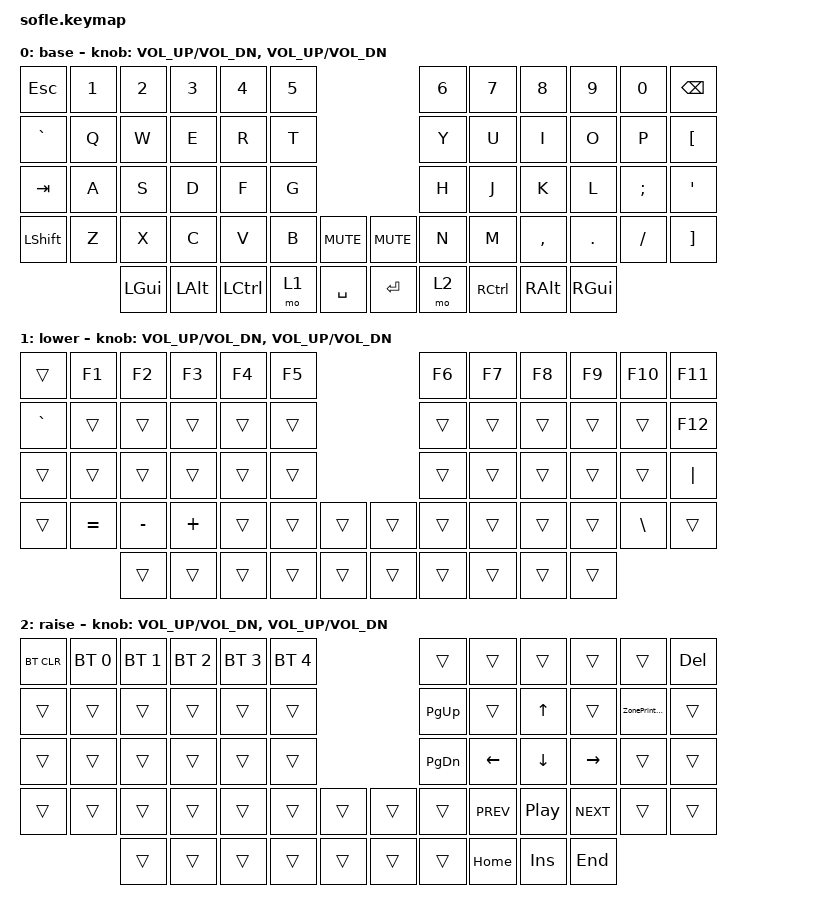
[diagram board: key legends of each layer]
/*
 * Copyright (c) 2020 The ZMK Contributors
 *
 * SPDX-License-Identifier: MIT
 */

#include <behaviors.dtsi>
#include <dt-bindings/zmk/bt.h>
#include <dt-bindings/zmk/keys.h>

#define BASE 0
#define LOWER 1
#define RAISE 2
#define ADJUST 3

/ {
    // Activate ADJUST layer by pressing raise and lower

    conditional_layers {
        compatible = "zmk,conditional-layers";

        adjust_layer {
            if-layers = <1 2>;
            then-layer = <3>;
        };
    };

    macros {
        ZonePrintScreen: ZonePrintScreen {
            compatible = "zmk,behavior-macro";
            #binding-cells = <0>;
            bindings = <&kp LS(LG(S))>;
            label = "ZONEPRINTSCREEN";
        };
    };

    keymap {
        compatible = "zmk,keymap";

        base_layer {
            display-name = "base";
            bindings = <
&kp ESCAPE  &kp N1  &kp N2    &kp N3    &kp N4     &kp N5                            &kp N6  &kp N7     &kp N8     &kp N9    &kp N0    &kp BACKSPACE
&kp GRAVE   &kp Q   &kp W     &kp E     &kp R      &kp T                             &kp Y   &kp U      &kp I      &kp O     &kp P     &kp LEFT_BRACKET
&kp TAB     &kp A   &kp S     &kp D     &kp F      &kp G                             &kp H   &kp J      &kp K      &kp L     &kp SEMI  &kp SQT
&kp LSHFT   &kp Z   &kp X     &kp C     &kp V      &kp B   &kp C_MUTE    &kp C_MUTE  &kp N   &kp M      &kp COMMA  &kp DOT   &kp FSLH  &kp RIGHT_BRACKET
                    &kp LGUI  &kp LALT  &kp LCTRL  &mo 1   &kp SPACE     &kp ENTER   &mo 2   &kp RCTRL  &kp RALT   &kp RGUI
            >;

            sensor-bindings =
                <&inc_dec_kp C_VOL_UP C_VOL_DN>,
                <&inc_dec_kp C_VOL_UP C_VOL_DN>;
        };

        lower_layer {
            display-name = "lower";
            bindings = <
&trans     &kp F1     &kp F2     &kp F3    &kp F4  &kp F5                    &kp F6  &kp F7  &kp F8  &kp F9  &kp F10   &kp F11
&kp GRAVE  &trans     &trans     &trans    &trans  &trans                    &trans  &trans  &trans  &trans  &trans    &kp F12
&trans     &trans     &trans     &trans    &trans  &trans                    &trans  &trans  &trans  &trans  &trans    &kp PIPE
&trans     &kp EQUAL  &kp MINUS  &kp PLUS  &trans  &trans  &trans    &trans  &trans  &trans  &trans  &trans  &kp BSLH  &trans
                      &trans     &trans    &trans  &trans  &trans    &trans  &trans  &trans  &trans  &trans
            >;

            sensor-bindings =
                <&inc_dec_kp C_VOL_UP C_VOL_DN>,
                <&inc_dec_kp C_VOL_UP C_VOL_DN>;
        };

        raise_layer {
            display-name = "raise";
            bindings = <
&bt BT_CLR  &bt BT_SEL 0  &bt BT_SEL 1  &bt BT_SEL 2  &bt BT_SEL 3  &bt BT_SEL 4                    &trans     &trans      &trans            &trans      &trans            &kp DELETE
&trans      &trans        &trans        &trans        &trans        &trans                          &kp PG_UP  &trans      &kp UP            &trans      &ZonePrintScreen  &trans
&trans      &trans        &trans        &trans        &trans        &trans                          &kp PG_DN  &kp LEFT    &kp DOWN          &kp RIGHT   &trans            &trans
&trans      &trans        &trans        &trans        &trans        &trans        &trans    &trans  &trans     &kp C_PREV  &kp C_PLAY_PAUSE  &kp C_NEXT  &trans            &trans
                          &trans        &trans        &trans        &trans        &trans    &trans  &trans     &kp HOME    &kp INSERT        &kp END
            >;

            sensor-bindings =
                <&inc_dec_kp C_VOL_UP C_VOL_DN>,
                <&inc_dec_kp C_VOL_UP C_VOL_DN>;
        };
    };
};
